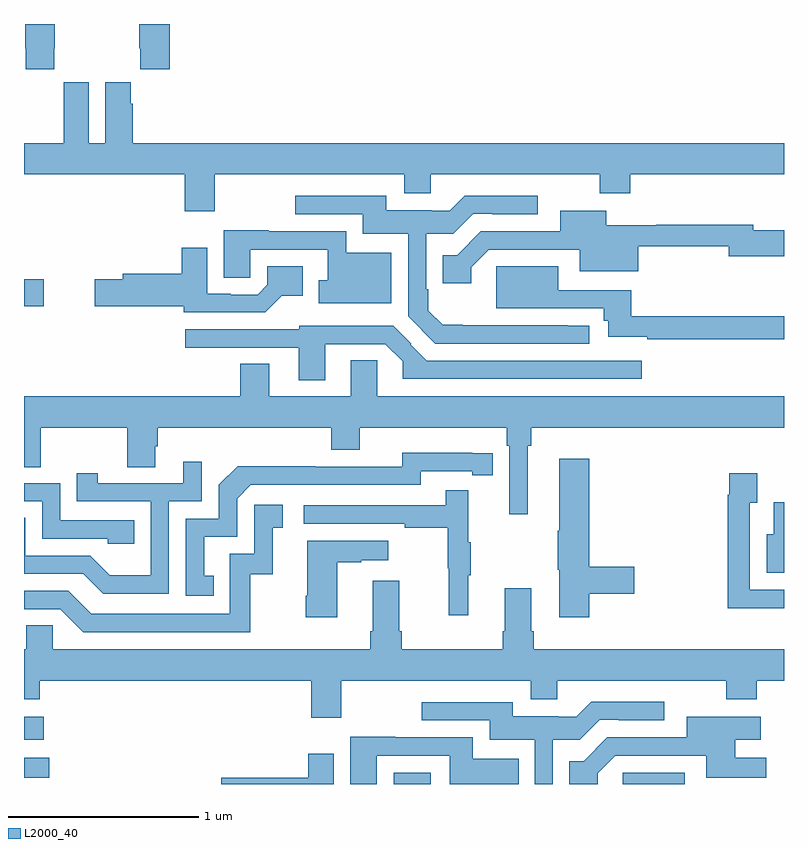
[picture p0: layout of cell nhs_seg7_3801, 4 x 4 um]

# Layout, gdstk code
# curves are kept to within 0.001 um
import gdstk
lib = gdstk.Library(unit=1e-6, precision=1e-09)
def R(c, l, rs):  # rectangles x0, y0, x1, y1
    for r in rs: c.add(gdstk.rectangle(r[:2], r[2:], *l))
def P(c, l, *ps):  # polygons
    for p in ps: c.add(gdstk.Polygon(p, *l))
L2000_40 = (2000, 40)

nhs_seg7_3801 = lib.new_cell('nhs_seg7_3801')
R(nhs_seg7_3801, L2000_40, [(352.947,1072,353.14,1072.06), (354.152,1072,354.478,1072.06), (351,1072.034,351.133,1072.138), (351,1072.232,351.103,1072.354), (351,1074.514,351.103,1074.656)])
P(nhs_seg7_3801, L2000_40, [(351.767,1076),(351.607,1076),(351.607,1075.873),(351.613,1075.873),(351.613,1075.761),(351.767,1075.761)],
  [(351.159,1075.873),(351.162,1075.873),(351.162,1076),(351.007,1076),(351.007,1075.873),(351.009,1075.873),(351.009,1075.761),(351.159,1075.761)],
  [(352.005,1075.208),(353,1075.208),(353,1075.109),(353.14,1075.109),(353.14,1075.208),(354.031,1075.208),(354.031,1075.109),(354.191,1075.109),(354.191,1075.208),(355,1075.208),(355,1075.372),(351.572,1075.372),(351.572,1075.58),(351.562,1075.58),(351.562,1075.693),(351.428,1075.693),(351.428,1075.372),(351.34,1075.372),(351.34,1075.693),(351.21,1075.693),(351.21,1075.58),(351.209,1075.58),(351.209,1075.372),(351,1075.372),(351,1075.208),(351.845,1075.208),(351.845,1075.014),(352.005,1075.014)],
  [(353.974,1074.413),(353.308,1074.414),(353.308,1074.417),(353.204,1074.417),(353.128,1074.492),(353.128,1074.604),(353.118,1074.604),(353.118,1074.897),(353.259,1074.897),(353.364,1075.002),(353.464,1075.002),(353.464,1074.999),(353.704,1074.999),(353.704,1075.096),(353.32,1075.096),(353.241,1075.017),(353.147,1075.017),(353.147,1075.021),(352.906,1075.021),(352.906,1075.095),(352.428,1075.095),(352.428,1074.999),(352.784,1074.999),(352.784,1074.896),(353.022,1074.896),(353.022,1074.461),(353.165,1074.318),(353.974,1074.318)],
  [(353.353,1074.721),(353.445,1074.813),(353.924,1074.813),(353.924,1074.698),(354.232,1074.698),(354.232,1074.831),(354.71,1074.831),(354.71,1074.778),(355,1074.778),(355,1074.915),(354.838,1074.915),(354.838,1074.944),(354.328,1074.944),(354.328,1074.94),(354.064,1074.94),(354.064,1075.018),(353.822,1075.018),(353.822,1074.909),(353.405,1074.909),(353.28,1074.784),(353.203,1074.784),(353.203,1074.636),(353.353,1074.636)],
  [(352.933,1074.796),(352.695,1074.796),(352.695,1074.909),(352.288,1074.909),(352.288,1074.914),(352.052,1074.914),(352.052,1074.664),(352.191,1074.664),(352.191,1074.813),(352.598,1074.813),(352.598,1074.652),(352.552,1074.652),(352.552,1074.53),(352.933,1074.53)],
  [(352.356,1074.569),(352.467,1074.569),(352.467,1074.724),(352.281,1074.724),(352.281,1074.627),(352.23,1074.576),(352.088,1074.576),(352.088,1074.579),(351.964,1074.579),(351.964,1074.823),(351.83,1074.823),(351.83,1074.686),(351.521,1074.686),(351.521,1074.656),(351.372,1074.656),(351.372,1074.514),(351.842,1074.514),(351.842,1074.483),(352.27,1074.483)],
  [(355,1074.463),(354.197,1074.463),(354.197,1074.6),(353.812,1074.6),(353.812,1074.724),(353.486,1074.724),(353.486,1074.503),(353.708,1074.503),(353.708,1074.504),(354.051,1074.504),(354.051,1074.438),(354.074,1074.438),(354.074,1074.354),(354.28,1074.354),(354.28,1074.342),(355,1074.342)],
  [(352.585,1074.315),(352.902,1074.315),(352.993,1074.225),(352.993,1074.132),(354.25,1074.132),(354.25,1074.228),(353.121,1074.228),(353.036,1074.313),(353.039,1074.316),(352.944,1074.411),(352.449,1074.411),(352.449,1074.393),(351.849,1074.393),(351.849,1074.297),(352.445,1074.297),(352.445,1074.126),(352.585,1074.126)],
  [(353.65,1073.78),(353.669,1073.78),(353.669,1073.876),(355,1073.876),(355,1074.04),(352.86,1074.04),(352.86,1074.23),(352.721,1074.23),(352.721,1074.04),(352.291,1074.04),(352.291,1074.212),(352.139,1074.212),(352.139,1074.04),(351,1074.04),(351,1073.668),(351.087,1073.668),(351.087,1073.876),(351.544,1073.876),(351.544,1073.668),(351.691,1073.668),(351.691,1073.778),(351.704,1073.778),(351.704,1073.876),(352.616,1073.876),(352.616,1073.759),(352.768,1073.759),(352.768,1073.876),(353.54,1073.876),(353.54,1073.78),(353.553,1073.78),(353.553,1073.421),(353.65,1073.421)],
  [(351.998,1073.097),(351.949,1073.097),(351.949,1073.301),(352.122,1073.301),(352.122,1073.502),(352.194,1073.574),(353.088,1073.574),(353.088,1073.646),(353.36,1073.646),(353.36,1073.626),(353.468,1073.626),(353.468,1073.742),(352.992,1073.743),(352.992,1073.67),(352.532,1073.67),(352.532,1073.672),(352.124,1073.672),(352.026,1073.574),(352.026,1073.397),(351.852,1073.397),(351.852,1072.992),(351.998,1072.992)],
  [(353.975,1073.002),(354.211,1073.002),(354.211,1073.144),(353.975,1073.144),(353.975,1073.713),(353.816,1073.713),(353.816,1073.333),(353.809,1073.333),(353.809,1073.127),(353.816,1073.127),(353.816,1072.878),(353.975,1072.878)],
  [(351.762,1073.487),(351.936,1073.487),(351.936,1073.695),(351.839,1073.695),(351.839,1073.583),(351.388,1073.583),(351.388,1073.635),(351.277,1073.635),(351.277,1073.487),(351.666,1073.487),(351.666,1073.098),(351.452,1073.098),(351.348,1073.202),(351.006,1073.202),(351.006,1073.401),(351,1073.401),(351,1073.106),(351.311,1073.106),(351.416,1073.001),(351.762,1073.001)],
  [(354.995,1072.926),(355,1072.926),(355,1073.022),(354.819,1073.022),(354.819,1073.479),(354.859,1073.479),(354.859,1073.635),(354.711,1073.635),(354.711,1073.522),(354.703,1073.522),(354.703,1072.925),(354.995,1072.925)],
  [(351.581,1073.388),(351.192,1073.388),(351.192,1073.583),(351,1073.583),(351,1073.487),(351.096,1073.487),(351.096,1073.292),(351.441,1073.292),(351.441,1073.265),(351.581,1073.265)],
  [(353.339,1073.099),(353.35,1073.099),(353.35,1073.273),(353.339,1073.273),(353.339,1073.545),(353.221,1073.545),(353.221,1073.466),(352.473,1073.466),(352.473,1073.37),(353.005,1073.37),(353.005,1073.35),(353.229,1073.35),(353.229,1073.136),(353.236,1073.136),(353.236,1072.887),(353.339,1072.887)],
  [(355,1073.482),(354.947,1073.482),(354.947,1073.314),(354.908,1073.314),(354.908,1073.111),(355,1073.111)],
  [(352.192,1073.103),(352.31,1073.103),(352.31,1073.349),(352.363,1073.349),(352.363,1073.47),(352.212,1073.47),(352.212,1073.211),(352.083,1073.211),(352.083,1072.896),(351.354,1072.896),(351.234,1073.016),(351,1073.016),(351,1072.92),(351.192,1072.92),(351.312,1072.8),(352.192,1072.8)],
  [(352.648,1073.167),(352.775,1073.167),(352.775,1073.177),(352.918,1073.177),(352.918,1073.281),(352.49,1073.281),(352.49,1072.99),(352.483,1072.99),(352.483,1072.878),(352.648,1072.878)],
  [(352.671,1072.544),(353.666,1072.544),(353.666,1072.445),(353.806,1072.445),(353.806,1072.544),(354.697,1072.544),(354.697,1072.445),(354.857,1072.445),(354.857,1072.544),(355,1072.544),(355,1072.708),(353.684,1072.708),(353.684,1072.804),(353.671,1072.804),(353.671,1073.029),(353.531,1073.029),(353.531,1072.804),(353.519,1072.804),(353.519,1072.708),(352.988,1072.708),(352.988,1072.804),(352.975,1072.804),(352.975,1073.071),(352.835,1073.071),(352.835,1072.804),(352.823,1072.804),(352.823,1072.708),(351.15,1072.708),(351.15,1072.835),(351.011,1072.835),(351.011,1072.708),(351,1072.708),(351,1072.445),(351.083,1072.445),(351.083,1072.544),(352.511,1072.544),(352.511,1072.35),(352.671,1072.35)],
  [(353.784,1072.233),(353.925,1072.233),(354.03,1072.338),(354.13,1072.338),(354.13,1072.335),(354.37,1072.335),(354.37,1072.432),(353.986,1072.432),(353.907,1072.353),(353.813,1072.353),(353.813,1072.357),(353.572,1072.357),(353.572,1072.431),(353.094,1072.431),(353.094,1072.335),(353.45,1072.335),(353.45,1072.232),(353.688,1072.232),(353.688,1072),(353.784,1072)],
  [(354.019,1072.057),(354.111,1072.149),(354.59,1072.149),(354.59,1072.034),(354.907,1072.034),(354.907,1072.138),(354.743,1072.138),(354.743,1072.232),(354.877,1072.232),(354.877,1072.354),(354.488,1072.354),(354.488,1072.245),(354.071,1072.245),(353.946,1072.12),(353.869,1072.12),(353.869,1072),(354.019,1072)],
  [(352.857,1072.149),(353.24,1072.149),(353.24,1072),(353.603,1072),(353.603,1072.132),(353.362,1072.132),(353.362,1072.245),(352.954,1072.245),(352.954,1072.25),(352.718,1072.25),(352.718,1072),(352.857,1072)],
  [(352.63,1072.159),(352.496,1072.159),(352.496,1072.034),(352.038,1072.034),(352.038,1072),(352.63,1072)])

lib.write_gds('nhs_seg7_3801.gds')
